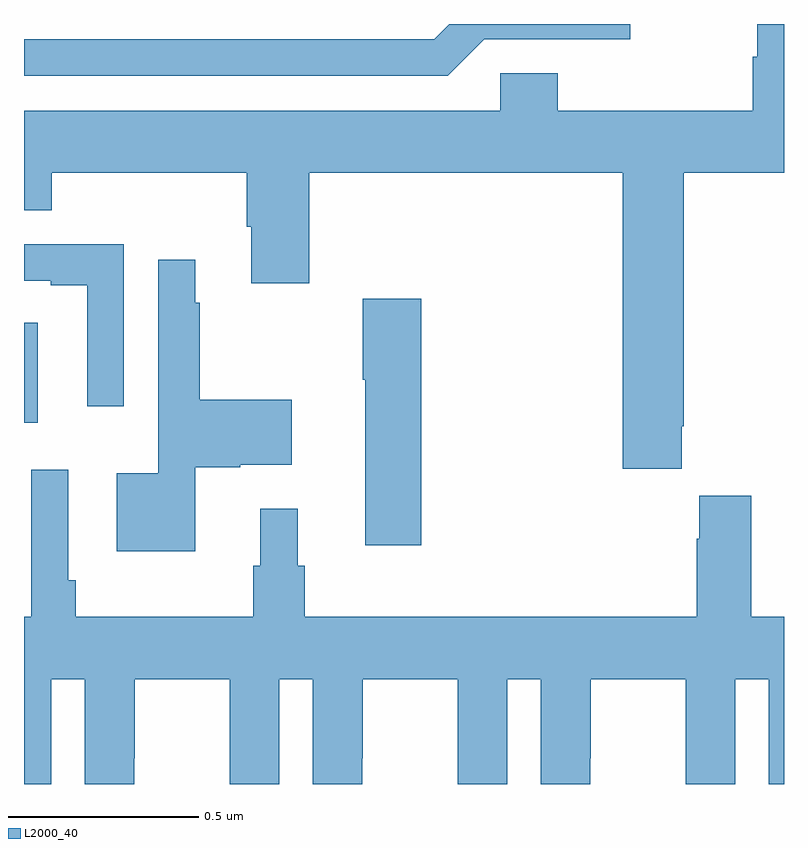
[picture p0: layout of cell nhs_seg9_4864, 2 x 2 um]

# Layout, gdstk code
import gdstk
lib = gdstk.Library(unit=1e-6, precision=1e-09)
def R(c, l, rs):  # rectangles x0, y0, x1, y1
    for r in rs: c.add(gdstk.rectangle(r[:2], r[2:], *l))
def P(c, l, *ps):  # polygons
    for p in ps: c.add(gdstk.Polygon(p, *l))
L2000_40 = (2000, 40)

nhs_seg9_4864 = lib.new_cell('nhs_seg9_4864')
R(nhs_seg9_4864, L2000_40, [(172,1174.451,172.036,1174.714)])
P(nhs_seg9_4864, L2000_40, [(173.731,1174.441),(173.736,1174.441),(173.736,1175.108),(174,1175.108),(174,1175.5),(173.93,1175.5),(173.93,1175.414),(173.918,1175.414),(173.918,1175.272),(173.405,1175.272),(173.405,1175.37),(173.253,1175.37),(173.253,1175.272),(172,1175.272),(172,1175.01),(172.073,1175.01),(172.073,1175.108),(172.586,1175.108),(172.586,1174.966),(172.598,1174.966),(172.598,1174.818),(172.751,1174.818),(172.751,1175.108),(173.576,1175.108),(173.576,1174.329),(173.731,1174.329)],
  [(173.211,1175.46),(173.595,1175.46),(173.595,1175.5),(173.119,1175.5),(173.079,1175.46),(172,1175.46),(172,1175.364),(173.115,1175.364)],
  [(172.263,1174.92),(172,1174.92),(172,1174.824),(172.07,1174.824),(172.07,1174.812),(172.166,1174.812),(172.166,1174.494),(172.263,1174.494)],
  [(172.45,1174.333),(172.569,1174.333),(172.569,1174.34),(172.705,1174.34),(172.705,1174.511),(172.462,1174.511),(172.462,1174.766),(172.45,1174.766),(172.45,1174.879),(172.353,1174.879),(172.353,1174.318),(172.244,1174.318),(172.244,1174.112),(172.45,1174.112)],
  [(173.045,1174.777),(172.891,1174.777),(172.891,1174.564),(172.898,1174.564),(172.898,1174.128),(173.045,1174.128)],
  [(172.072,1173.776),(172.16,1173.776),(172.16,1173.5),(172.29,1173.5),(172.29,1173.568),(172.291,1173.568),(172.291,1173.776),(172.541,1173.776),(172.541,1173.568),(172.542,1173.568),(172.542,1173.5),(172.672,1173.5),(172.672,1173.776),(172.76,1173.776),(172.76,1173.5),(172.89,1173.5),(172.89,1173.568),(172.891,1173.568),(172.891,1173.776),(173.141,1173.776),(173.141,1173.568),(173.142,1173.568),(173.142,1173.5),(173.272,1173.5),(173.272,1173.776),(173.36,1173.776),(173.36,1173.5),(173.49,1173.5),(173.49,1173.568),(173.491,1173.568),(173.491,1173.776),(173.741,1173.776),(173.741,1173.568),(173.742,1173.568),(173.742,1173.5),(173.872,1173.5),(173.872,1173.776),(173.96,1173.776),(173.96,1173.5),(174,1173.5),(174,1173.94),(173.914,1173.94),(173.914,1174.258),(173.777,1174.258),(173.777,1174.145),(173.771,1174.145),(173.771,1173.94),(172.739,1173.94),(172.739,1174.074),(172.72,1174.074),(172.72,1174.225),(172.622,1174.225),(172.622,1174.074),(172.603,1174.074),(172.603,1173.94),(172.136,1173.94),(172.136,1174.036),(172.116,1174.036),(172.116,1174.327),(172.019,1174.327),(172.019,1173.94),(172,1173.94),(172,1173.5),(172.072,1173.5)])

lib.write_gds('nhs_seg9_4864.gds')
